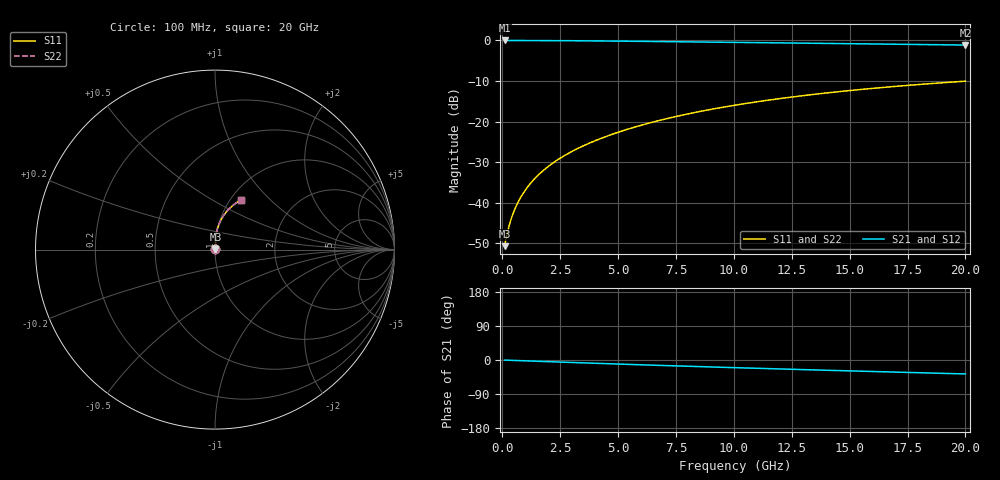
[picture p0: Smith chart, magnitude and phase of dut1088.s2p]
! Touchstone file exported from HFSS 2024.1.0
!  File:  C:/UserFiles/LocalFiles/RDL_TSV_Batchsim/temp_RDL_top_1088_1780045863.aedt
!  Generated:  05:13:03 PM May 29, 2026
!  Design:  RDL_top
!  Project:  temp_RDL_top_1088_1780045863
!  Setup:  Setup1
!  Solution:  Sweep
! Variables:
!  dtsv = 10.80580581um
!  hbump = 3um
!  htsv = 85.4um
!  ldown = 100um
!  lrdl = 530.36um
!  p = 40
!  p1 = 48.56um
!  rhole = 1um
!  t = 450um
!  tdown = 3.915915916um
!  trdl = 3.5um
!  wdown = 15.38538539um
!  wrdl = 24.15um
# GHz S MA R 50.000000
! Terminal data exported
! Port[1] = Box2_T1
! Port[2] = Box2_T2
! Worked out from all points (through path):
!   200 points, 100 MHz to 20 GHz, reference 50 ohm
!   highest |S21| = -0.02 dB at 100 MHz (marker M1); lowest = -1.2 dB at 20 GHz (marker M2)
!   group delay of S21, straight-line fit = 5.06 ps
!   lowest |S11| = -50.7 dB at 100 MHz (marker M3), VSWR 1.01, Z = 50.2 + j0.16 ohm
!   |S11| at or under -10 dB: start of sweep to end of sweep
!   |S22| runs from -50.7 to -10.1 dB; largest |S21 - S12| = 4.6e-15
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0.1  0.002921 33.0  0.9975 -0.2  0.9975 -0.2  0.002921 33.0
! Gamma 0 0 0 0
! Port Impedance 50 0 50 0
0.2  0.004039 50.1  0.9974 -0.5  0.9974 -0.5  0.004039 50.1
0.3  0.005282 58.9  0.9972 -0.7  0.9972 -0.7  0.005282 58.9
0.4  0.006545 64.3  0.997 -0.9  0.997 -0.9  0.006545 64.3
0.5  0.007818 68.1  0.9968 -1.1  0.9968 -1.1  0.007818 68.1
0.6  0.009105 71.0  0.9967 -1.4  0.9967 -1.4  0.009105 71.0
0.8  0.01172 75.0  0.9964 -1.8  0.9964 -1.8  0.01172 75.1
1.1  0.01574 78.8  0.9958 -2.4  0.9958 -2.4  0.01574 78.8
1.3  0.01846 80.5  0.9954 -2.9  0.9954 -2.9  0.01846 80.5
1.6  0.02261 82.2  0.9947 -3.5  0.9947 -3.5  0.02261 82.2
2.1  0.02966 84.0  0.9932 -4.6  0.9932 -4.6  0.02966 84.0
2.7  0.03833 85.3  0.991 -5.9  0.991 -5.9  0.03833 85.3
3.5  0.05027 86.0  0.9874 -7.6  0.9874 -7.6  0.05027 86.0
4.2  0.06106 86.2  0.9837 -9.1  0.9837 -9.1  0.06106 86.2
5  0.07378 86.0  0.9791 -10.7  0.9791 -10.7  0.07378 86.0
6.8  0.1035 84.4  0.9674 -14.2  0.9674 -14.2  0.1035 84.4
8.4  0.1308 82.2  0.9565 -17.3  0.9565 -17.3  0.1308 82.2
10.1  0.16 79.5  0.9446 -20.3  0.9446 -20.3  0.16 79.5
11.7  0.1872 76.7  0.9334 -23.2  0.9334 -23.2  0.1872 76.7
13.4  0.2153 73.7  0.9215 -26.1  0.9215 -26.1  0.2153 73.7
16.7  0.2671 67.7  0.8986 -31.5  0.8986 -31.5  0.2671 67.8
20  0.3143 62.0  0.8759 -36.8  0.8759 -36.8  0.3143 62.1
